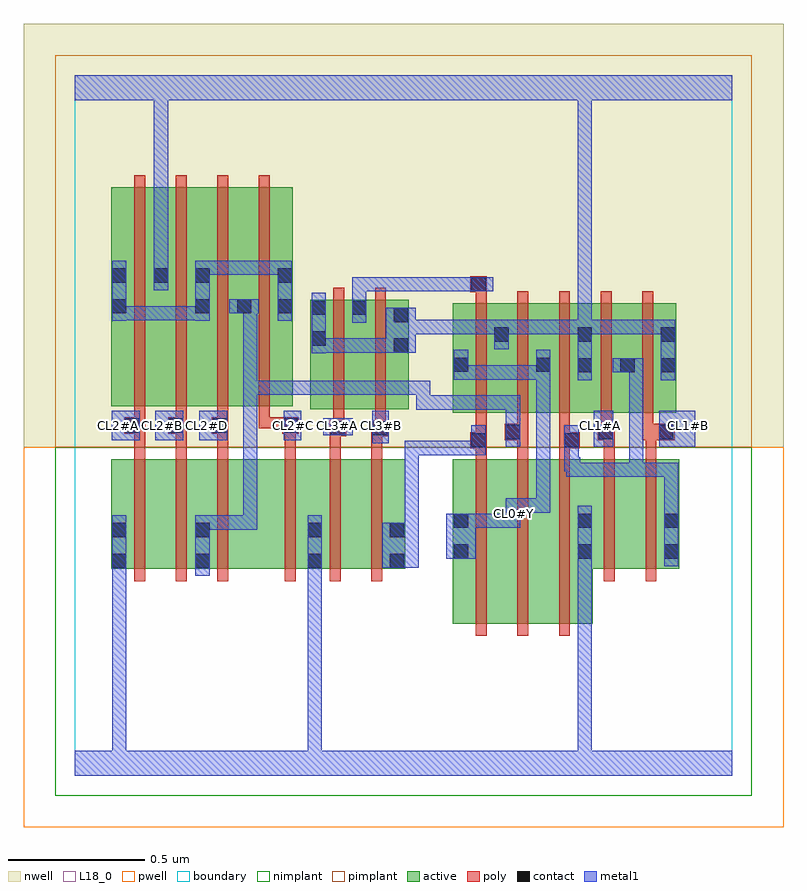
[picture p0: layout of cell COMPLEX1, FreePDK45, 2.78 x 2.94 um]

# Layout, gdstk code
import gdstk
lib = gdstk.Library(unit=1e-6, precision=1e-09)
def R(c, l, rs):  # rectangles x0, y0, x1, y1
    for r in rs: c.add(gdstk.rectangle(r[:2], r[2:], *l))
def A(c, l, x, y, w, h, nx, ny, dx, dy):  # array of equal rectangles
    R(c, l, [(x+i*dx, y+j*dy, x+i*dx+w, y+j*dy+h) for i in range(nx) for j in range(ny)])
active = (1, 0)
pwell = (2, 0)
nwell = (3, 0)
nimplant = (4, 0)
pimplant = (5, 0)
poly = (9, 0)
contact = (10, 0)
metal1 = (11, 0)
L18_0 = (18, 0)
boundary = (235, 0)

complex1 = lib.new_cell('COMPLEX1')
A(complex1, active, 0.132, 1.35, 0.212, 0.8, 3, 1, 0.152, 0)
R(complex1, active, [(1.38,0.556,1.56,1.156), (1.38,0.556,1.44,1.156), (1.56,0.556,1.712,1.156), (1.712,0.556,1.892,1.156), (0.132,0.756,0.192,1.156), (0.132,0.756,0.312,1.156), (0.312,0.756,0.496,1.156), (0.436,0.756,0.496,1.156), (0.436,0.756,0.616,1.156), (0.616,0.756,0.906,1.156), (0.846,0.756,0.906,1.156), (0.846,0.756,1.026,1.156), (1.026,0.756,1.206,1.156), (1.146,0.756,1.206,1.156), (1.832,0.756,1.892,1.156), (1.832,0.756,2.028,1.156), (2.028,0.756,2.208,1.156), (2.148,0.756,2.208,1.156), (1.38,1.326,1.44,1.644), (1.38,1.326,1.588,1.726), (1.528,1.326,1.588,1.644), (1.528,1.326,1.74,1.726), (1.68,1.326,1.74,1.726), (1.68,1.326,1.892,1.726), (1.832,1.326,1.892,1.644), (1.832,1.326,2.048,1.726), (1.988,1.326,2.048,1.644), (1.988,1.326,2.196,1.726), (2.136,1.326,2.196,1.644), (0.86,1.34,0.92,1.74), (0.86,1.34,1.068,1.74), (1.008,1.34,1.068,1.74), (1.008,1.34,1.22,1.74), (1.16,1.34,1.22,1.714), (0.132,1.35,0.192,2.15), (0.588,1.35,0.796,2.15), (0.736,1.35,0.796,2.15), (0.284,1.686,0.344,2.15), (0.436,1.686,0.496,2.044), (0.588,1.686,0.648,2.044)])
R(complex1, pwell, [(-0.188,-0.188,2.588,1.2)])
R(complex1, nwell, [(-0.188,1.2,2.588,2.748)])
R(complex1, nimplant, [(-0.072,-0.072,2.472,1.2)])
R(complex1, pimplant, [(-0.072,1.2,2.472,2.632)])
A(complex1, poly, 1.464, 0.512, 0.04, 0.688, 3, 1, 0.152, 0)
A(complex1, poly, 0.216, 0.712, 0.04, 0.488, 3, 1, 0.152, 0)
A(complex1, poly, 0.216, 1.16, 0.04, 0.13, 3, 1, 0.152, 0)
A(complex1, poly, 0.216, 1.27, 0.04, 0.076, 4, 1, 0.152, 0)
A(complex1, poly, 1.464, 1.282, 0.04, 0.488, 5, 1, 0.152, 0)
A(complex1, poly, 0.216, 1.306, 0.04, 0.888, 4, 1, 0.152, 0)
R(complex1, poly, [(0.766,0.712,0.806,1.2), (0.93,0.712,0.97,1.2), (1.082,0.712,1.122,1.2), (1.932,0.712,1.972,1.2), (2.084,0.712,2.124,1.2), (0.766,1.16,0.806,1.29), (0.93,1.16,0.97,1.28), (1.082,1.16,1.122,1.28), (1.464,1.16,1.504,1.236), (1.616,1.16,1.656,1.266), (1.768,1.16,1.808,1.236), (1.932,1.16,1.972,1.266), (2.084,1.16,2.124,1.266), (1.444,1.196,1.504,1.256), (1.768,1.196,1.844,1.256), (1.464,1.216,1.504,1.256), (1.464,1.216,1.504,1.256), (1.464,1.216,1.504,1.322), (1.768,1.216,1.808,1.256), (1.768,1.216,1.808,1.256), (1.768,1.216,1.808,1.322), (1.57,1.226,1.656,1.286), (1.616,1.226,1.656,1.266), (1.616,1.226,1.656,1.266), (1.91,1.226,1.97,1.286), (1.93,1.226,1.97,1.266), (1.93,1.226,1.972,1.266), (2.072,1.226,2.19,1.286), (2.084,1.226,2.124,1.266), (2.084,1.226,2.124,1.266), (0.93,1.24,0.99,1.3), (1.082,1.24,1.142,1.3), (1.616,1.246,1.656,1.322), (1.92,1.246,1.96,1.322), (2.072,1.246,2.112,1.322), (0.18,1.25,0.256,1.31), (0.216,1.25,0.256,1.29), (0.216,1.25,0.256,1.29), (0.34,1.25,0.408,1.31), (0.5,1.25,0.56,1.31), (0.758,1.25,0.818,1.31), (0.944,1.26,0.984,1.336), (0.944,1.26,0.984,1.3), (0.944,1.26,0.984,1.3), (1.096,1.26,1.136,1.336), (1.096,1.26,1.136,1.3), (1.096,1.26,1.136,1.3), (0.368,1.27,0.408,1.31), (0.368,1.27,0.408,1.31), (0.52,1.27,0.56,1.31), (0.52,1.27,0.56,1.31), (0.672,1.27,0.798,1.31), (0.758,1.27,0.798,1.31), (0.944,1.296,0.984,1.784), (1.096,1.296,1.136,1.784), (1.464,1.73,1.504,1.806), (1.444,1.766,1.504,1.826)])
A(complex1, contact, 0.184, 1.254, 0.052, 0.052, 3, 1, 0.16, 0)
A(complex1, contact, 1.532, 1.586, 0.052, 0.052, 3, 1, 0.304, 0)
A(complex1, contact, 0.136, 1.802, 0.052, 0.052, 3, 1, 0.152, 0)
R(complex1, contact, [(0.136,0.76,0.188,0.812), (0.44,0.76,0.492,0.812), (0.85,0.76,0.902,0.812), (1.15,0.76,1.202,0.812), (1.384,0.794,1.436,0.846), (1.836,0.794,1.888,0.846), (2.152,0.794,2.204,0.846), (0.136,0.872,0.188,0.924), (0.44,0.872,0.492,0.924), (0.85,0.872,0.902,0.924), (1.15,0.872,1.202,0.924), (1.384,0.906,1.436,0.958), (1.836,0.906,1.888,0.958), (2.152,0.906,2.204,0.958), (1.448,1.2,1.5,1.252), (1.788,1.2,1.84,1.252), (1.574,1.23,1.626,1.282), (1.914,1.23,1.966,1.282), (2.134,1.23,2.186,1.282), (0.934,1.244,0.986,1.296), (1.086,1.244,1.138,1.296), (0.762,1.254,0.814,1.306), (1.836,1.474,1.888,1.526), (1.992,1.474,2.044,1.526), (2.14,1.474,2.192,1.526), (1.384,1.476,1.436,1.528), (1.684,1.476,1.736,1.528), (1.164,1.546,1.216,1.598), (0.864,1.572,0.916,1.624), (1.164,1.658,1.216,1.71), (0.864,1.684,0.916,1.736), (1.012,1.684,1.064,1.736), (0.136,1.69,0.188,1.742), (0.44,1.69,0.492,1.742), (0.592,1.69,0.644,1.742), (0.74,1.69,0.792,1.742), (1.448,1.77,1.5,1.822), (0.74,1.802,0.792,1.854)])
A(complex1, metal1, 0.134, 1.226, 0.102, 0.108, 3, 1, 0.16, 0)
R(complex1, metal1, [(0,0,2.4,0.092), (0.136,0.04,0.188,0.092), (0.136,0.04,0.188,0.092), (0.136,0.04,0.188,0.092), (0.136,0.04,0.188,0.092), (0.136,0.04,0.188,0.784), (0.85,0.04,0.902,0.092), (0.85,0.04,0.902,0.092), (0.85,0.04,0.902,0.092), (0.85,0.04,0.902,0.092), (0.85,0.04,0.902,0.092), (0.85,0.04,0.902,0.092), (0.85,0.04,0.902,0.092), (0.85,0.04,0.902,0.092), (0.85,0.04,0.902,0.092), (0.85,0.04,0.902,0.092), (0.85,0.04,0.902,0.092), (0.85,0.04,0.902,0.092), (0.85,0.04,0.902,0.784), (1.836,0.04,1.888,0.092), (1.836,0.04,1.888,0.092), (1.836,0.04,1.888,0.092), (1.836,0.04,1.888,0.092), (1.836,0.04,1.888,0.818), (0.136,0.732,0.188,0.784), (0.136,0.732,0.188,0.784), (0.136,0.732,0.188,0.784), (0.136,0.732,0.188,0.784), (0.136,0.732,0.188,0.784), (0.136,0.732,0.188,0.784), (0.136,0.732,0.188,0.784), (0.136,0.732,0.188,0.784), (0.136,0.732,0.188,0.952), (0.44,0.732,0.492,0.952), (0.85,0.732,0.902,0.952), (1.122,0.76,1.256,0.924), (1.836,0.766,1.888,0.818), (1.836,0.766,1.888,0.818), (1.836,0.766,1.888,0.818), (1.836,0.766,1.888,0.818), (1.836,0.766,1.888,0.986), (2.152,0.766,2.204,0.986), (1.356,0.794,1.464,0.958), (1.204,0.872,1.256,1.224), (0.44,0.9,0.666,0.952), (0.614,0.9,0.666,0.952), (0.614,0.9,0.666,0.952), (0.614,0.9,0.666,0.952), (0.614,0.9,0.666,1.444), (1.412,0.906,1.464,0.958), (1.412,0.906,1.464,0.958), (1.412,0.906,1.626,0.958), (1.574,0.906,1.626,0.958), (1.574,0.906,1.626,0.958), (1.574,0.906,1.626,1.014), (2.152,0.934,2.204,1.144), (1.574,0.962,1.626,1.014), (1.574,0.962,1.626,1.014), (1.574,0.962,1.736,1.014), (1.684,0.962,1.736,1.014), (1.684,0.962,1.736,1.5), (1.794,1.092,2.076,1.144), (1.794,1.092,1.846,1.164), (2.024,1.092,2.076,1.144), (2.024,1.092,2.076,1.144), (2.024,1.092,2.076,1.144), (2.024,1.092,2.076,1.144), (2.024,1.092,2.076,1.144), (2.024,1.092,2.204,1.144), (2.024,1.092,2.076,1.526), (2.152,1.092,2.204,1.144), (2.152,1.092,2.204,1.144), (2.152,1.092,2.204,1.144), (1.788,1.112,1.846,1.164), (1.788,1.112,1.84,1.28), (1.204,1.172,1.256,1.224), (1.204,1.172,1.256,1.224), (1.204,1.172,1.256,1.224), (1.204,1.172,1.5,1.224), (1.448,1.172,1.5,1.28), (1.574,1.202,1.626,1.31), (1.894,1.202,1.966,1.334), (2.134,1.202,2.266,1.334), (1.086,1.216,1.146,1.334), (0.762,1.226,0.826,1.334), (0.906,1.244,1.014,1.306), (1.574,1.258,1.626,1.31), (1.574,1.258,1.626,1.39), (1.246,1.338,1.298,1.39), (1.246,1.338,1.298,1.39), (1.246,1.338,1.516,1.39), (1.246,1.338,1.298,1.444), (1.464,1.338,1.516,1.39), (1.464,1.338,1.626,1.39), (0.614,1.392,0.666,1.444), (0.614,1.392,0.666,1.444), (0.614,1.392,0.666,1.444), (0.614,1.392,0.792,1.444), (0.614,1.392,0.666,1.742), (0.74,1.392,0.792,1.444), (0.74,1.392,0.792,1.444), (0.74,1.392,0.792,1.444), (0.74,1.392,0.92,1.444), (0.868,1.392,0.92,1.444), (0.868,1.392,0.92,1.444), (0.868,1.392,0.92,1.444), (0.868,1.392,1.064,1.444), (1.012,1.392,1.064,1.444), (1.012,1.392,1.064,1.444), (1.012,1.392,1.064,1.444), (1.012,1.392,1.298,1.444), (1.836,1.446,1.888,1.666), (2.14,1.446,2.192,1.666), (1.384,1.448,1.436,1.5), (1.384,1.448,1.436,1.5), (1.384,1.448,1.436,1.556), (1.384,1.448,1.626,1.5), (1.574,1.448,1.626,1.5), (1.574,1.448,1.626,1.5), (1.574,1.448,1.626,1.5), (1.574,1.448,1.736,1.5), (1.684,1.448,1.736,1.5), (1.684,1.448,1.736,1.5), (1.684,1.448,1.736,1.556), (1.964,1.474,2.076,1.526), (0.864,1.544,0.916,1.764), (0.864,1.546,0.916,1.598), (0.864,1.546,0.916,1.598), (0.864,1.546,1.03,1.598), (0.978,1.546,1.03,1.598), (0.978,1.546,1.03,1.598), (0.978,1.546,1.03,1.598), (0.978,1.546,1.188,1.598), (1.136,1.546,1.188,1.598), (1.136,1.546,1.188,1.598), (1.136,1.546,1.188,1.598), (1.136,1.546,1.188,1.598), (1.136,1.546,1.188,1.598), (1.136,1.546,1.188,1.598), (1.136,1.546,1.244,1.71), (1.532,1.558,1.584,1.666), (1.192,1.614,1.408,1.666), (1.356,1.614,1.408,1.666), (1.356,1.614,1.408,1.666), (1.356,1.614,1.408,1.666), (1.356,1.614,1.584,1.666), (1.532,1.614,1.626,1.666), (1.574,1.614,1.626,1.666), (1.574,1.614,1.736,1.666), (1.684,1.614,1.736,1.666), (1.684,1.614,1.736,1.666), (1.684,1.614,1.736,1.666), (1.684,1.614,1.888,1.666), (1.836,1.614,1.888,1.666), (1.836,1.614,1.888,1.666), (1.836,1.614,1.888,1.666), (1.836,1.614,1.888,1.666), (1.836,1.614,1.888,1.666), (1.836,1.614,1.888,1.666), (1.836,1.614,1.888,1.666), (1.836,1.614,1.888,1.666), (1.836,1.614,1.888,1.666), (1.836,1.614,1.888,1.666), (1.836,1.614,1.888,1.666), (1.836,1.614,1.888,1.666), (1.836,1.614,1.888,1.666), (1.836,1.614,1.888,1.666), (1.836,1.614,1.888,1.666), (1.836,1.614,1.888,1.666), (1.836,1.614,1.998,1.666), (1.836,1.614,1.888,2.52), (1.946,1.614,1.998,1.666), (1.946,1.614,1.998,1.666), (1.946,1.614,1.998,1.666), (1.946,1.614,2.192,1.666), (2.14,1.614,2.192,1.666), (2.14,1.614,2.192,1.666), (1.012,1.656,1.064,1.764), (0.136,1.662,0.188,1.882), (0.44,1.662,0.492,1.882), (0.74,1.662,0.792,1.882), (0.136,1.664,0.188,1.716), (0.136,1.664,0.188,1.716), (0.136,1.664,0.298,1.716), (0.246,1.664,0.298,1.716), (0.246,1.664,0.298,1.716), (0.246,1.664,0.298,1.716), (0.246,1.664,0.492,1.716), (0.564,1.69,0.672,1.742), (1.012,1.712,1.064,1.822), (1.012,1.77,1.064,1.822), (1.012,1.77,1.064,1.822), (1.012,1.77,1.064,1.822), (1.012,1.77,1.174,1.822), (1.122,1.77,1.174,1.822), (1.122,1.77,1.472,1.822), (1.42,1.77,1.472,1.822), (1.42,1.77,1.472,1.822), (1.42,1.77,1.528,1.822), (0.288,1.774,0.34,1.882), (0.288,1.83,0.34,1.882), (0.288,1.83,0.34,1.882), (0.288,1.83,0.34,1.882), (0.288,1.83,0.34,1.882), (0.288,1.83,0.34,1.882), (0.288,1.83,0.34,1.882), (0.288,1.83,0.34,2.52), (0.44,1.83,0.492,1.882), (0.44,1.83,0.492,1.882), (0.44,1.83,0.492,1.882), (0.44,1.83,0.492,1.882), (0.44,1.83,0.602,1.882), (0.55,1.83,0.602,1.882), (0.55,1.83,0.792,1.882), (0.74,1.83,0.792,1.882), (0.74,1.83,0.792,1.882), (0,2.468,2.4,2.56), (0.288,2.468,0.34,2.52), (0.288,2.468,0.34,2.52)])
A(complex1, L18_0, 1.574, 0.906, 0.052, 0.052, 1, 3, 0, 0.028)
A(complex1, L18_0, 0.134, 1.226, 0.102, 0.108, 3, 1, 0.16, 0)
A(complex1, L18_0, 0.134, 1.254, 0.052, 0.052, 3, 1, 0.16, 0)
A(complex1, L18_0, 0.774, 1.254, 0.052, 0.052, 3, 1, 0.16, 0)
R(complex1, L18_0, [(0,0,2.4,0.092), (0.136,0.04,0.188,0.092), (0.136,0.04,0.188,0.092), (0.136,0.04,0.188,0.092), (0.136,0.04,0.188,0.092), (0.136,0.04,0.188,0.784), (0.85,0.04,0.902,0.092), (0.85,0.04,0.902,0.092), (0.85,0.04,0.902,0.092), (0.85,0.04,0.902,0.092), (0.85,0.04,0.902,0.092), (0.85,0.04,0.902,0.092), (0.85,0.04,0.902,0.092), (0.85,0.04,0.902,0.092), (0.85,0.04,0.902,0.092), (0.85,0.04,0.902,0.092), (0.85,0.04,0.902,0.092), (0.85,0.04,0.902,0.092), (0.85,0.04,0.902,0.784), (1.836,0.04,1.888,0.092), (1.836,0.04,1.888,0.092), (1.836,0.04,1.888,0.092), (1.836,0.04,1.888,0.092), (1.836,0.04,1.888,0.818), (0.136,0.732,0.188,0.784), (0.136,0.732,0.188,0.784), (0.136,0.732,0.188,0.784), (0.136,0.732,0.188,0.784), (0.136,0.732,0.188,0.784), (0.136,0.732,0.188,0.784), (0.136,0.732,0.188,0.784), (0.136,0.732,0.188,0.784), (0.136,0.732,0.188,0.952), (0.85,0.732,0.902,0.952), (1.836,0.766,1.888,0.818), (1.836,0.766,1.888,0.818), (1.836,0.766,1.888,0.818), (1.836,0.766,1.888,0.818), (1.836,0.766,1.888,0.986), (1.356,0.794,1.464,0.958), (1.412,0.906,1.464,0.958), (1.412,0.906,1.464,0.958), (1.412,0.906,1.626,0.958), (1.574,0.906,1.626,0.958), (1.574,0.906,1.626,1.014), (1.574,0.962,1.626,1.014), (1.574,0.962,1.736,1.014), (1.684,0.962,1.736,1.014), (1.684,0.962,1.736,1.5), (1.894,1.202,1.966,1.334), (2.134,1.202,2.266,1.334), (1.086,1.216,1.146,1.334), (0.762,1.226,0.826,1.334), (0.906,1.244,1.014,1.306), (1.894,1.254,1.946,1.306), (2.214,1.254,2.266,1.306), (1.836,1.446,1.888,1.666), (2.14,1.446,2.192,1.666), (1.384,1.448,1.436,1.5), (1.384,1.448,1.436,1.5), (1.384,1.448,1.436,1.556), (1.384,1.448,1.626,1.5), (1.574,1.448,1.626,1.5), (1.574,1.448,1.626,1.5), (1.574,1.448,1.626,1.5), (1.574,1.448,1.736,1.5), (1.684,1.448,1.736,1.5), (1.684,1.448,1.736,1.5), (1.684,1.448,1.736,1.556), (0.864,1.544,0.916,1.764), (0.864,1.546,0.916,1.598), (0.864,1.546,0.916,1.598), (0.864,1.546,1.03,1.598), (0.978,1.546,1.03,1.598), (0.978,1.546,1.03,1.598), (0.978,1.546,1.03,1.598), (0.978,1.546,1.188,1.598), (1.136,1.546,1.188,1.598), (1.136,1.546,1.188,1.598), (1.136,1.546,1.188,1.598), (1.136,1.546,1.188,1.598), (1.136,1.546,1.188,1.598), (1.136,1.546,1.188,1.598), (1.136,1.546,1.244,1.71), (1.532,1.558,1.584,1.666), (1.192,1.614,1.408,1.666), (1.356,1.614,1.408,1.666), (1.356,1.614,1.408,1.666), (1.356,1.614,1.408,1.666), (1.356,1.614,1.584,1.666), (1.532,1.614,1.626,1.666), (1.574,1.614,1.626,1.666), (1.574,1.614,1.736,1.666), (1.684,1.614,1.736,1.666), (1.684,1.614,1.736,1.666), (1.684,1.614,1.736,1.666), (1.684,1.614,1.888,1.666), (1.836,1.614,1.888,1.666), (1.836,1.614,1.888,1.666), (1.836,1.614,1.888,1.666), (1.836,1.614,1.888,1.666), (1.836,1.614,1.888,1.666), (1.836,1.614,1.888,1.666), (1.836,1.614,1.888,1.666), (1.836,1.614,1.888,1.666), (1.836,1.614,1.888,1.666), (1.836,1.614,1.888,1.666), (1.836,1.614,1.888,1.666), (1.836,1.614,1.888,1.666), (1.836,1.614,1.888,1.666), (1.836,1.614,1.888,1.666), (1.836,1.614,1.888,1.666), (1.836,1.614,1.888,1.666), (1.836,1.614,1.998,1.666), (1.836,1.614,1.888,2.52), (1.946,1.614,1.998,1.666), (1.946,1.614,1.998,1.666), (1.946,1.614,1.998,1.666), (1.946,1.614,2.192,1.666), (2.14,1.614,2.192,1.666), (2.14,1.614,2.192,1.666), (0.288,1.774,0.34,1.882), (0.288,1.83,0.34,1.882), (0.288,1.83,0.34,1.882), (0.288,1.83,0.34,1.882), (0.288,1.83,0.34,1.882), (0.288,1.83,0.34,1.882), (0.288,1.83,0.34,1.882), (0.288,1.83,0.34,2.52), (0,2.468,2.4,2.56), (0.288,2.468,0.34,2.52), (0.288,2.468,0.34,2.52)])
R(complex1, boundary, [(0,0,2.4,2.56)])
complex1.add(gdstk.Label('CL0#Y', (1.6,0.96), layer=11, texttype=0))
complex1.add(gdstk.Label('CL1#A', (1.92,1.28), layer=11, texttype=0))
complex1.add(gdstk.Label('CL1#B', (2.24,1.28), layer=11, texttype=0))
complex1.add(gdstk.Label('CL2#A', (0.16,1.28), layer=11, texttype=0))
complex1.add(gdstk.Label('CL2#B', (0.32,1.28), layer=11, texttype=0))
complex1.add(gdstk.Label('CL2#C', (0.8,1.28), layer=11, texttype=0))
complex1.add(gdstk.Label('CL2#D', (0.48,1.28), layer=11, texttype=0))
complex1.add(gdstk.Label('CL3#A', (0.96,1.28), layer=11, texttype=0))
complex1.add(gdstk.Label('CL3#B', (1.12,1.28), layer=11, texttype=0))

lib.write_gds('COMPLEX1.gds')
